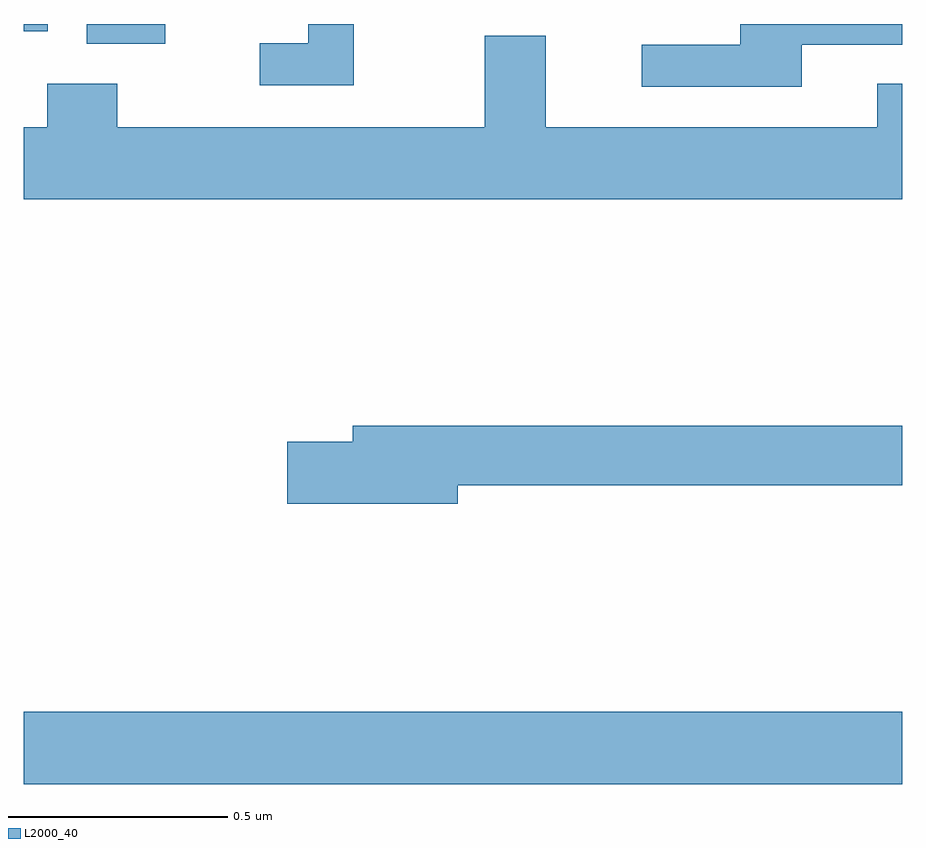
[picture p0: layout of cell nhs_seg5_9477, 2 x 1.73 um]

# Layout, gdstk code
import gdstk
lib = gdstk.Library(unit=1e-6, precision=1e-09)
def R(c, l, rs):  # rectangles x0, y0, x1, y1
    for r in rs: c.add(gdstk.rectangle(r[:2], r[2:], *l))
def P(c, l, *ps):  # polygons
    for p in ps: c.add(gdstk.Polygon(p, *l))
L2000_40 = (2000, 40)

nhs_seg5_9477 = lib.new_cell('nhs_seg5_9477')
R(nhs_seg5_9477, L2000_40, [(234,882.068,236,882.232), (234.143,883.754,234.322,883.799), (234,883.783,234.054,883.799)])
P(nhs_seg5_9477, L2000_40, [(235.771,883.752),(236,883.752),(236,883.799),(235.631,883.799),(235.631,883.752),(235.407,883.752),(235.407,883.656),(235.771,883.656)],
  [(234.751,883.799),(234.647,883.799),(234.647,883.755),(234.537,883.755),(234.537,883.659),(234.751,883.659)],
  [(236,883.663),(235.943,883.663),(235.943,883.564),(235.189,883.564),(235.189,883.772),(235.049,883.772),(235.049,883.564),(234.213,883.564),(234.213,883.663),(234.053,883.663),(234.053,883.564),(234,883.564),(234,883.4),(236,883.4)],
  [(234.988,882.748),(236,882.748),(236,882.884),(234.749,882.884),(234.749,882.848),(234.6,882.848),(234.6,882.706),(234.988,882.706)])

lib.write_gds('nhs_seg5_9477.gds')
